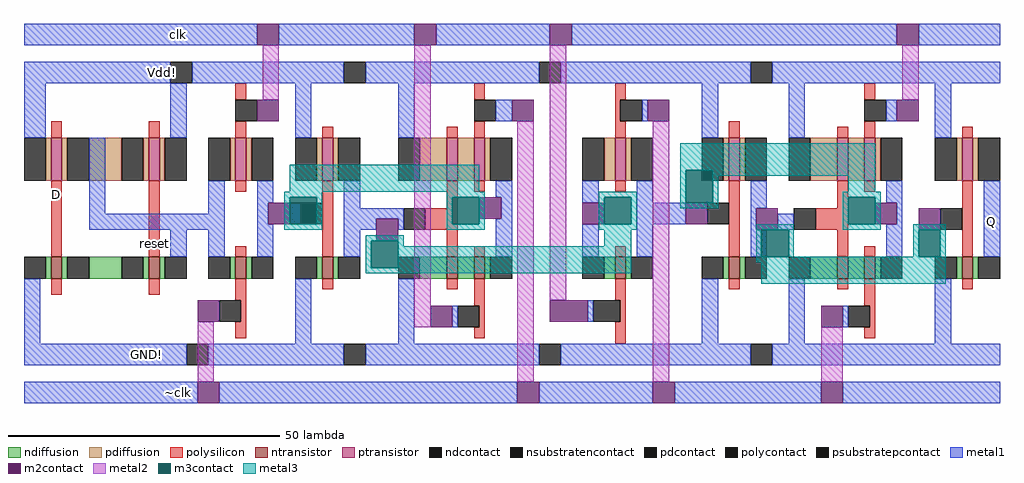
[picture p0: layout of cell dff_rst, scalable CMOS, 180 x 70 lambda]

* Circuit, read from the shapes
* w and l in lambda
.subckt dff_rst D GND! Q Vdd! clk reset ~clk
M1 n1 D GND! GND! nfet w=4 l=2
M2 n2 reset n1 GND! nfet w=4 l=2
M3 n3 ~clk n2 GND! nfet w=4 l=2
M4 n4 n3 GND! GND! nfet w=4 l=2
M5 n5 n4 GND! GND! nfet w=4 l=2
M6 n3 clk n5 GND! nfet w=4 l=2
M7 n6 clk n4 GND! nfet w=4 l=2
M8 n7 n6 GND! GND! nfet w=4 l=2
M9 n8 n7 GND! GND! nfet w=4 l=2
M10 n6 ~clk n8 GND! nfet w=4 l=2
M11 Q n7 GND! GND! nfet w=4 l=2
M12 n2 D Vdd! Vdd! pfet w=8 l=2
M13 Vdd! reset n2 Vdd! pfet w=8 l=2
M14 n3 clk n2 Vdd! pfet w=8 l=2
M15 n4 n3 Vdd! Vdd! pfet w=8 l=2
M16 n9 n4 Vdd! Vdd! pfet w=8 l=2
M17 n3 ~clk n9 Vdd! pfet w=8 l=2
M18 n6 ~clk n4 Vdd! pfet w=8 l=2
M19 n7 n6 Vdd! Vdd! pfet w=8 l=2
M20 n10 n7 Vdd! Vdd! pfet w=8 l=2
M21 n6 clk n10 Vdd! pfet w=8 l=2
M22 Q n7 Vdd! Vdd! pfet w=8 l=2
.ends

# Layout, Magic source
magic
tech scmos
<< ntransistor >>
rect -6 23 -4 27
rect 12 23 14 27
rect 28 23 30 27
rect 44 23 46 27
rect 67 23 69 27
rect 72 23 74 27
rect 98 23 100 27
rect 119 23 121 27
rect 139 23 141 27
rect 144 23 146 27
rect 162 23 164 27
<< ptransistor >>
rect -6 41 -4 49
rect 12 41 14 49
rect 28 41 30 49
rect 44 41 46 49
rect 67 41 69 49
rect 72 41 74 49
rect 98 41 100 49
rect 119 41 121 49
rect 139 41 141 49
rect 144 41 146 49
rect 162 41 164 49
<< ndiffusion >>
rect -7 23 -6 27
rect -4 23 -3 27
rect 1 23 7 27
rect 11 23 12 27
rect 14 23 15 27
rect 27 23 28 27
rect 30 23 31 27
rect 43 23 44 27
rect 46 23 47 27
rect 62 23 67 27
rect 69 23 72 27
rect 74 23 75 27
rect 96 23 98 27
rect 100 23 101 27
rect 118 23 119 27
rect 121 23 122 27
rect 134 23 139 27
rect 141 23 144 27
rect 146 23 147 27
rect 161 23 162 27
rect 164 23 165 27
<< pdiffusion >>
rect -7 41 -6 49
rect -4 41 -3 49
rect 1 41 7 49
rect 11 41 12 49
rect 14 41 15 49
rect 27 41 28 49
rect 30 41 31 49
rect 43 41 44 49
rect 46 41 47 49
rect 62 41 67 49
rect 69 41 72 49
rect 74 41 75 49
rect 96 41 98 49
rect 100 41 101 49
rect 118 41 119 49
rect 121 41 122 49
rect 134 41 139 49
rect 141 41 144 49
rect 146 41 147 49
rect 161 41 162 49
rect 164 41 165 49
<< ndcontact >>
rect -11 23 -7 27
rect -3 23 1 27
rect 7 23 11 27
rect 15 23 19 27
rect 23 23 27 27
rect 31 23 35 27
rect 39 23 43 27
rect 47 23 51 27
rect 58 23 62 27
rect 75 23 79 27
rect 92 23 96 27
rect 101 23 105 27
rect 114 23 118 27
rect 122 23 126 27
rect 130 23 134 27
rect 147 23 151 27
rect 157 23 161 27
rect 165 23 169 27
<< pdcontact >>
rect -11 41 -7 49
rect -3 41 1 49
rect 7 41 11 49
rect 15 41 19 49
rect 23 41 27 49
rect 31 41 35 49
rect 39 41 43 49
rect 47 41 51 49
rect 58 41 62 49
rect 75 41 79 49
rect 92 41 96 49
rect 101 41 105 49
rect 114 41 118 49
rect 122 41 126 49
rect 130 41 134 49
rect 147 41 151 49
rect 157 41 161 49
rect 165 41 169 49
<< psubstratepcontact >>
rect 19 7 23 11
rect 48 7 52 11
rect 84 7 88 11
rect 123 7 127 11
<< nsubstratencontact >>
rect 16 59 20 63
rect 48 59 52 63
rect 84 59 88 63
rect 123 59 127 63
<< polysilicon >>
rect 28 56 30 59
rect 72 56 74 59
rect 98 56 100 59
rect 144 56 146 59
rect 98 52 99 56
rect -6 49 -4 52
rect 12 49 14 52
rect 28 49 30 52
rect 44 49 46 51
rect 67 49 69 51
rect 72 49 74 52
rect 98 49 100 52
rect 119 49 121 52
rect 139 49 141 51
rect 144 49 146 52
rect 162 49 164 51
rect -6 27 -4 41
rect 12 27 14 41
rect 28 39 30 41
rect 28 27 30 29
rect 44 27 46 41
rect 67 36 69 41
rect 72 39 74 41
rect 98 39 100 41
rect 63 32 69 36
rect 67 27 69 32
rect 72 27 74 29
rect 98 27 100 29
rect 119 27 121 41
rect 139 36 141 41
rect 144 39 146 41
rect 135 32 141 36
rect 139 27 141 32
rect 144 27 146 29
rect 162 27 164 41
rect -6 20 -4 23
rect 12 20 14 23
rect 28 19 30 23
rect 44 21 46 23
rect 67 21 69 23
rect 29 15 30 19
rect 72 18 74 23
rect 98 19 100 23
rect 119 21 121 23
rect 139 21 141 23
rect 28 12 30 15
rect 73 14 74 18
rect 99 15 100 19
rect 144 18 146 23
rect 162 21 164 23
rect 72 12 74 14
rect 98 11 100 15
rect 145 14 146 18
rect 144 12 146 14
<< polycontact >>
rect 28 52 32 56
rect 72 52 76 56
rect 99 52 103 56
rect 144 52 148 56
rect 40 33 44 37
rect 59 32 63 36
rect 115 33 119 37
rect 131 32 135 36
rect 158 32 162 36
rect 25 15 29 19
rect 69 14 73 18
rect 94 15 99 19
rect 141 14 145 18
<< metal1 >>
rect -11 66 32 70
rect 36 66 61 70
rect 65 66 86 70
rect 90 66 150 70
rect 154 66 169 70
rect -11 59 16 63
rect 20 59 48 63
rect 52 59 84 63
rect 88 59 123 63
rect 127 59 169 63
rect -11 49 -7 59
rect 16 49 19 59
rect 39 49 42 59
rect 58 49 61 59
rect 76 52 79 56
rect 103 52 104 56
rect 114 49 117 59
rect 130 49 133 59
rect 148 52 150 56
rect 157 49 160 59
rect 1 35 4 49
rect 23 35 26 41
rect 1 32 26 35
rect 16 27 19 32
rect 23 27 26 32
rect 32 37 35 41
rect 32 33 34 37
rect 38 33 40 37
rect 48 36 51 41
rect 76 38 79 41
rect 48 34 59 36
rect 32 27 35 33
rect 48 32 54 34
rect 48 27 51 32
rect 58 32 59 34
rect 77 34 79 38
rect 76 27 79 34
rect 92 37 95 41
rect 102 37 105 41
rect 102 33 111 37
rect 123 36 126 41
rect 148 37 151 41
rect 92 27 95 33
rect 102 27 105 33
rect 123 32 124 36
rect 128 32 131 35
rect 150 33 151 37
rect 123 27 126 32
rect 148 27 151 33
rect 166 27 169 41
rect -11 11 -8 23
rect 39 11 42 23
rect 58 11 61 23
rect 68 14 69 18
rect 93 15 94 19
rect 114 11 117 23
rect 130 11 133 23
rect 140 14 141 18
rect 157 11 160 23
rect -11 7 19 11
rect 23 7 48 11
rect 52 7 84 11
rect 88 7 123 11
rect 127 7 169 11
rect -11 0 21 4
rect 25 0 80 4
rect 84 0 105 4
rect 109 0 136 4
rect 140 0 169 4
<< m2contact >>
rect 32 66 36 70
rect 61 66 65 70
rect 86 66 90 70
rect 150 66 154 70
rect 32 52 36 56
rect 79 52 83 56
rect 104 52 108 56
rect 150 52 154 56
rect 34 33 38 37
rect 54 30 58 34
rect 73 34 77 38
rect 92 33 96 37
rect 111 33 115 37
rect 124 32 128 36
rect 146 33 150 37
rect 154 32 158 36
rect 21 15 25 19
rect 64 14 68 18
rect 86 15 93 19
rect 136 14 140 18
rect 21 0 25 4
rect 80 0 84 4
rect 105 0 109 4
rect 136 0 140 4
<< metal2 >>
rect 33 56 36 66
rect 21 4 24 15
rect 61 14 64 66
rect 80 4 83 52
rect 86 19 89 66
rect 151 56 154 66
rect 105 4 108 52
rect 136 4 140 14
<< m3contact >>
rect 38 33 43 38
rect 53 25 58 30
rect 68 33 73 38
rect 96 33 101 38
rect 111 37 116 43
rect 141 33 146 38
rect 125 27 130 32
rect 154 27 158 32
<< metal3 >>
rect 38 39 73 44
rect 110 43 146 48
rect 37 38 44 39
rect 37 33 38 38
rect 43 33 44 38
rect 37 32 44 33
rect 67 38 74 39
rect 67 33 68 38
rect 73 33 74 38
rect 67 32 74 33
rect 95 38 102 39
rect 95 33 96 38
rect 101 33 102 38
rect 110 37 111 43
rect 116 42 146 43
rect 116 37 117 42
rect 141 39 146 42
rect 110 36 117 37
rect 140 38 147 39
rect 140 33 141 38
rect 146 33 147 38
rect 95 32 102 33
rect 124 32 131 33
rect 140 32 147 33
rect 153 32 159 33
rect 52 30 59 31
rect 52 25 53 30
rect 58 29 59 30
rect 96 29 101 32
rect 58 25 101 29
rect 124 27 125 32
rect 130 27 131 32
rect 153 27 154 32
rect 158 27 159 32
rect 124 26 159 27
rect 52 24 101 25
rect 125 22 159 26
<< labels >>
rlabel metal1 166 30 169 37 7 Q
rlabel metal1 8 7 15 11 1 GND!
rlabel metal1 16 66 19 70 4 clk
rlabel metal1 16 0 19 4 2 ~clk
rlabel polysilicon -6 37 -4 40 1 D
rlabel polysilicon 12 28 14 31 1 reset
rlabel metal1 13 59 16 63 1 Vdd!
<< end >>
